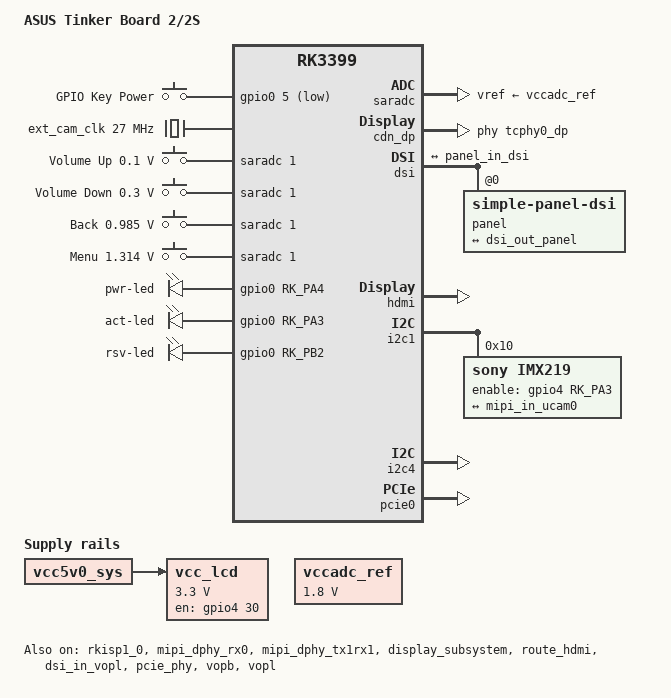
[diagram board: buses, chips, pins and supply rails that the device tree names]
/*
 * Copyright (c) 2016 Fuzhou Rockchip Electronics Co., Ltd
 *
 * This file is dual-licensed: you can use it either under the terms
 * of the GPL or the X11 license, at your option. Note that this dual
 * licensing only applies to this file, and not this project as a
 * whole.
 *
 *  a) This file is free software; you can redistribute it and/or
 *     modify it under the terms of the GNU General Public License as
 *     published by the Free Software Foundation; either version 2 of the
 *     License, or (at your option) any later version.
 *
 *     This file is distributed in the hope that it will be useful,
 *     but WITHOUT ANY WARRANTY; without even the implied warranty of
 *     MERCHANTABILITY or FITNESS FOR A PARTICULAR PURPOSE.  See the
 *     GNU General Public License for more details.
 *
 * Or, alternatively,
 *
 *  b) Permission is hereby granted, free of charge, to any person
 *     obtaining a copy of this software and associated documentation
 *     files (the "Software"), to deal in the Software without
 *     restriction, including without limitation the rights to use,
 *     copy, modify, merge, publish, distribute, sublicense, and/or
 *     sell copies of the Software, and to permit persons to whom the
 *     Software is furnished to do so, subject to the following
 *     conditions:
 *
 *     The above copyright notice and this permission notice shall be
 *     included in all copies or substantial portions of the Software.
 *
 *     THE SOFTWARE IS PROVIDED "AS IS", WITHOUT WARRANTY OF ANY KIND,
 *     EXPRESS OR IMPLIED, INCLUDING BUT NOT LIMITED TO THE WARRANTIES
 *     OF MERCHANTABILITY, FITNESS FOR A PARTICULAR PURPOSE AND
 *     NONINFRINGEMENT. IN NO EVENT SHALL THE AUTHORS OR COPYRIGHT
 *     HOLDERS BE LIABLE FOR ANY CLAIM, DAMAGES OR OTHER LIABILITY,
 *     WHETHER IN AN ACTION OF CONTRACT, TORT OR OTHERWISE, ARISING
 *     FROM, OUT OF OR IN CONNECTION WITH THE SOFTWARE OR THE USE OR
 *     OTHER DEALINGS IN THE SOFTWARE.
 */

/dts-v1/;

#include "rk3399-tinker_board_2.dtsi"
#include <dt-bindings/input/input.h>

/ {
	model = "ASUS Tinker Board 2/2S";
	compatible = "rockchip,rk3399-tinker_board_2", "rockchip,rk3399";

	vcc_lcd: vcc-lcd {
		compatible = "regulator-fixed";
		regulator-name = "vcc_lcd";
		gpio = <&gpio4 30 GPIO_ACTIVE_HIGH>;
		startup-delay-us = <20000>;
		enable-active-high;
		regulator-min-microvolt = <3300000>;
		regulator-max-microvolt = <3300000>;
		regulator-boot-on;
		vin-supply = <&vcc5v0_sys>;
	};

	panel: panel {
		compatible = "simple-panel";
		status = "disabled";
		backlight = <&backlight>;
		power-supply = <&vcc_lcd>;
		enable-gpios = <&gpio1 13 GPIO_ACTIVE_HIGH>;
		prepare-delay-ms = <20>;
		enable-delay-ms = <20>;

		display-timings {
			native-mode = <&timing0>;

			timing0: timing0 {
				clock-frequency = <200000000>;
				hactive = <1536>;
				vactive = <2048>;
				hfront-porch = <12>;
				hsync-len = <16>;
				hback-porch = <48>;
				vfront-porch = <8>;
				vsync-len = <4>;
				vback-porch = <8>;
				hsync-active = <0>;
				vsync-active = <0>;
				de-active = <0>;
				pixelclk-active = <0>;
			};
		};

		ports {
			panel_in: endpoint {
				remote-endpoint = <&edp_out>;
			};
		};
	};

	hdmi_sound: hdmi-sound {
		status = "okay";
	};

	gpio-keys {
		compatible = "gpio-keys";
		#address-cells = <1>;
		#size-cells = <0>;
		autorepeat;

		pinctrl-names = "default";
		pinctrl-0 = <&pwrbtn>;

		button@0 {
			gpios = <&gpio0 5 GPIO_ACTIVE_LOW>;
			linux,code = <KEY_POWER>;
			label = "GPIO Key Power";
			linux,input-type = <1>;
			gpio-key,wakeup = <1>;
			debounce-interval = <100>;
		};
	};

	vccadc_ref: vccadc-ref {
		compatible = "regulator-fixed";
		regulator-name = "vcc1v8_sys";
		regulator-always-on;
		regulator-boot-on;
		regulator-min-microvolt = <1800000>;
		regulator-max-microvolt = <1800000>;
	};

	ext_cam_clk: external-camera-clock {
		compatible = "fixed-clock";
		clock-frequency = <27000000>;
		clock-output-names = "CLK_CAMERA_27MHZ";
		#clock-cells = <0>;
	};

	adc-keys {
		compatible = "adc-keys";
		io-channels = <&saradc 1>;
		io-channel-names = "buttons";
		poll-interval = <100>;
		keyup-threshold-microvolt = <1800000>;

		button-up {
			label = "Volume Up";
			linux,code = <KEY_VOLUMEUP>;
			press-threshold-microvolt = <100000>;
		};

		button-down {
			label = "Volume Down";
			linux,code = <KEY_VOLUMEDOWN>;
			press-threshold-microvolt = <300000>;
		};

		back {
			label = "Back";
			linux,code = <KEY_BACK>;
			press-threshold-microvolt = <985000>;
		};

		menu {
			label = "Menu";
			linux,code = <KEY_MENU>;
			press-threshold-microvolt = <1314000>;
		};
	};

	gpio-leds {
		compatible = "gpio-leds";

		pwr-led {
			gpios = <&gpio0 RK_PA4 GPIO_ACTIVE_HIGH>;
			linux,default-trigger = "default-on";
			retain-state-suspended = <1>;
		};

		act-led {
			gpios = <&gpio0 RK_PA3 GPIO_ACTIVE_HIGH>;
			linux,default-trigger="mmc1";
		};

		rsv-led {
			gpios = <&gpio0 RK_PB2 GPIO_ACTIVE_HIGH>;
			linux,default-trigger="none";
		};
	};

	board_info: board-info {
		compatible = "board-info";

		hw-id0 = <&gpio4 RK_PA7 GPIO_ACTIVE_HIGH>;
		hw-id1 = <&gpio4 RK_PA6 GPIO_ACTIVE_HIGH>;
		hw-id2 = <&gpio4 RK_PA5 GPIO_ACTIVE_HIGH>;

		pid-id0 = <&gpio2 RK_PA5 GPIO_ACTIVE_HIGH>;
		pid-id1 = <&gpio2 RK_PA3 GPIO_ACTIVE_HIGH>;
		pid-id2 = <&gpio2 RK_PA2 GPIO_ACTIVE_HIGH>;

		ddr-id1 = <&gpio4 RK_PA4 GPIO_ACTIVE_HIGH>;
		ddr-id2 = <&gpio4 RK_PA0 GPIO_ACTIVE_HIGH>;

		pmic-reset = <&gpio1 RK_PA6 GPIO_ACTIVE_HIGH>;
	};
};

&rkisp1_0 {
	status = "okay";

	port {
		#address-cells = <1>;
		#size-cells = <0>;

		isp0_mipi_in: endpoint@0 {
			reg = <0>;
			remote-endpoint = <&dphy_rx0_out>;
		};
	};
};

&mipi_dphy_rx0 {
	status = "okay";

	ports {
		#address-cells = <1>;
		#size-cells = <0>;

		port@0 {
			reg = <0>;
			#address-cells = <1>;
			#size-cells = <0>;

			mipi_in_ucam0: endpoint@1 {
				reg = <1>;
				remote-endpoint = <&imx219_out>;
				data-lanes = <1 2>;
			};
		};

		port@1 {
			reg = <1>;
			#address-cells = <1>;
			#size-cells = <0>;

			dphy_rx0_out: endpoint@0 {
				reg = <0>;
				remote-endpoint = <&isp0_mipi_in>;
			};
		};
	};
};

&isp0_mmu {
	status = "okay";
};

&rkisp1_1 {
	status = "disabled";

	port {
		#address-cells = <1>;
		#size-cells = <0>;

		isp1_mipi_in: endpoint@0 {
			reg = <0>;
			remote-endpoint = <&dphy_tx1rx1_out>;
		};
	};
};

&mipi_dphy_tx1rx1 {
	status = "okay";

	ports {
		#address-cells = <1>;
		#size-cells = <0>;

		port@0 {
			reg = <0>;
			#address-cells = <1>;
			#size-cells = <0>;

			mipi_in_ucam1: endpoint@1 {
				reg = <1>;
				/* Unlinked camera */
				//remote-endpoint = <&ucam_out1>;
				data-lanes = <1 2>;
			};
		};

		port@1 {
			reg = <1>;
			#address-cells = <1>;
			#size-cells = <0>;

			dphy_tx1rx1_out: endpoint@0 {
				reg = <0>;
				remote-endpoint = <&isp1_mipi_in>;
			};
		};
	};
};

&isp1_mmu {
	status = "disabled";
};

&saradc {
	vref-supply = <&vccadc_ref>;
};

&backlight {
	status = "disabled";
	enable-gpios = <&gpio4 29 GPIO_ACTIVE_HIGH>;
};

&cdn_dp {
	status = "okay";
	extcon = <&fusb0>;
	phys = <&tcphy0_dp>;
};

&display_subsystem {
	status = "okay";
};

&route_edp {
	status = "disabled";
};

&route_hdmi {
	status = "okay";
	connect = <&vopb_out_hdmi>;
};

&dsi {
	status = "okay";
	panel@0 {
		compatible ="simple-panel-dsi";
		reg = <0>;

		rpi-init-sequence = [
				29 00 06 10 02 03 00 00 00
				29 00 06 64 01 0C 00 00 00
				29 00 06 68 01 0C 00 00 00
				29 00 06 44 01 00 00 00 00
				29 00 06 48 01 00 00 00 00
				29 00 06 14 01 15 00 00 00
				29 00 06 50 04 60 00 00 00
				29 00 06 20 04 52 01 10 00
				29 00 06 24 04 14 00 1A 00
				29 00 06 28 04 20 03 69 00
				29 00 06 2C 04 02 00 15 00
				29 00 06 30 04 E0 01 07 00
				29 00 06 34 04 01 00 00 00
				29 00 06 64 04 0F 04 00 00
				29 00 06 04 01 01 00 00 00
				29 00 06 04 02 01 00 00 00
		];
		powertip-exit-sequence = [
			05 14 01 28
			05 78 01 10
		];
		powertip-rev-a-init-sequence = [
			39 00 04 ff 98 81 03
			15 00 02 03 55
			15 00 02 04 13
			15 00 02 06 06
			15 00 02 07 01
			15 00 02 09 01
			15 00 02 0a 01
			15 00 02 0f 18
			15 00 02 10 18
			15 00 02 1e 44
			15 00 02 1f 80
			15 00 02 20 02
			15 00 02 21 03
			15 00 02 28 33
			15 00 02 29 03
			15 00 02 34 04
			15 00 02 38 01
			15 00 02 50 01
			15 00 02 51 23
			15 00 02 52 45
			15 00 02 53 67
			15 00 02 54 89
			15 00 02 55 ab
			15 00 02 56 01
			15 00 02 57 23
			15 00 02 58 45
			15 00 02 59 67
			15 00 02 5a 89
			15 00 02 5b ab
			15 00 02 5c cd
			15 00 02 5d ef
			15 00 02 5e 11
			15 00 02 5f 14
			15 00 02 60 15
			15 00 02 61 0f
			15 00 02 62 0d
			15 00 02 63 0e
			15 00 02 64 0c
			15 00 02 65 06
			15 00 02 66 02
			15 00 02 67 02
			15 00 02 68 02
			15 00 02 69 02
			15 00 02 6a 02
			15 00 02 6b 02
			15 00 02 6c 02
			15 00 02 6d 02
			15 00 02 6e 02
			15 00 02 6f 02
			15 00 02 70 02
			15 00 02 72 01
			15 00 02 73 08
			15 00 02 74 02
			15 00 02 75 14
			15 00 02 76 15
			15 00 02 77 0f
			15 00 02 78 0d
			15 00 02 79 0e
			15 00 02 7a 0c
			15 00 02 7b 08
			15 00 02 7c 02
			15 00 02 7d 02
			15 00 02 7e 02
			15 00 02 7f 02
			15 00 02 80 02
			15 00 02 81 02
			15 00 02 82 02
			15 00 02 83 02
			15 00 02 84 02
			15 00 02 85 02
			15 00 02 86 02
			15 00 02 88 01
			15 00 02 89 06
			15 00 02 8a 02
			39 00 04 ff 98 81 04
			15 00 02 6c 15
			15 00 02 6e 2a
			15 00 02 6f 33
			15 00 02 3a 24
			15 00 02 8d 14
			15 00 02 87 ba
			15 00 02 26 76
			15 00 02 b2 d1
			15 00 02 b5 d7
			15 00 02 35 1f
			39 00 04 ff 98 81 01
			15 00 02 22 0a
			15 00 02 53 72
			15 00 02 55 77
			15 00 02 50 a6
			15 00 02 51 a6
			15 00 02 60 30
			15 00 02 a0 08
			15 00 02 a1 1a
			15 00 02 a2 2a
			15 00 02 a3 14
			15 00 02 a4 17
			15 00 02 a5 2b
			15 00 02 a6 1d
			15 00 02 a7 20
			15 00 02 a8 9d
			15 00 02 a9 1c
			15 00 02 aa 29
			15 00 02 ab 8f
			15 00 02 ac 20
			15 00 02 ad 1f
			15 00 02 ae 4f
			15 00 02 af 23
			15 00 02 b0 29
			15 00 02 b1 56
			15 00 02 b2 66
			15 00 02 b3 39
			15 00 02 c0 08
			15 00 02 c1 1a
			15 00 02 c2 2a
			15 00 02 c3 15
			15 00 02 c4 17
			15 00 02 c5 2b
			15 00 02 c6 1d
			15 00 02 c7 20
			15 00 02 c8 9d
			15 00 02 c9 1d
			15 00 02 ca 29
			15 00 02 cb 8f
			15 00 02 cc 20
			15 00 02 cd 1f
			15 00 02 ce 4f
			15 00 02 cf 24
			15 00 02 d0 29
			15 00 02 d1 56
			15 00 02 d2 66
			15 00 02 d3 39
			39 00 04 ff 98 81 00
			15 00 02 35 00
			05 78 01 11
			05 78 01 29
		];
		powertip-rev-b-init-sequence = [
			39 00 04 FF 98 81 03
			15 00 02 01 00
			15 00 02 02 00
			15 00 02 03 73
			15 00 02 04 00
			15 00 02 05 00
			15 00 02 06 0A
			15 00 02 07 00
			15 00 02 08 00
			15 00 02 09 61
			15 00 02 0A 00
			15 00 02 0B 00
			15 00 02 0C 01
			15 00 02 0D 00
			15 00 02 0E 00
			15 00 02 0F 61
			15 00 02 10 61
			15 00 02 11 00
			15 00 02 12 00
			15 00 02 13 00
			15 00 02 14 00
			15 00 02 15 00
			15 00 02 16 00
			15 00 02 17 00
			15 00 02 18 00
			15 00 02 19 00
			15 00 02 1A 00
			15 00 02 1B 00
			15 00 02 1C 00
			15 00 02 1D 00
			15 00 02 1E 40
			15 00 02 1F 80
			15 00 02 20 06
			15 00 02 21 01
			15 00 02 22 00
			15 00 02 23 00
			15 00 02 24 00
			15 00 02 25 00
			15 00 02 26 00
			15 00 02 27 00
			15 00 02 28 33
			15 00 02 29 03
			15 00 02 2A 00
			15 00 02 2B 00
			15 00 02 2C 00
			15 00 02 2D 00
			15 00 02 2E 00
			15 00 02 2F 00
			15 00 02 30 00
			15 00 02 31 00
			15 00 02 32 00
			15 00 02 33 00
			15 00 02 34 04
			15 00 02 35 00
			15 00 02 36 00
			15 00 02 37 00
			15 00 02 38 3C
			15 00 02 39 00
			15 00 02 3A 00
			15 00 02 3B 00
			15 00 02 3C 00
			15 00 02 3D 00
			15 00 02 3E 00
			15 00 02 3F 00
			15 00 02 40 00
			15 00 02 41 00
			15 00 02 42 00
			15 00 02 43 00
			15 00 02 44 00
			15 00 02 50 10
			15 00 02 51 32
			15 00 02 52 54
			15 00 02 53 76
			15 00 02 54 98
			15 00 02 55 BA
			15 00 02 56 10
			15 00 02 57 32
			15 00 02 58 54
			15 00 02 59 76
			15 00 02 5A 98
			15 00 02 5B BA
			15 00 02 5C DC
			15 00 02 5D FE
			15 00 02 5E 00
			15 00 02 5F 0E
			15 00 02 60 0F
			15 00 02 61 0C
			15 00 02 62 0D
			15 00 02 63 06
			15 00 02 64 07
			15 00 02 65 02
			15 00 02 66 02
			15 00 02 67 02
			15 00 02 68 02
			15 00 02 69 01
			15 00 02 6A 00
			15 00 02 6B 02
			15 00 02 6C 15
			15 00 02 6D 14
			15 00 02 6E 02
			15 00 02 6F 02
			15 00 02 70 02
			15 00 02 71 02
			15 00 02 72 02
			15 00 02 73 02
			15 00 02 74 02
			15 00 02 75 0E
			15 00 02 76 0F
			15 00 02 77 0C
			15 00 02 78 0D
			15 00 02 79 06
			15 00 02 7A 07
			15 00 02 7B 02
			15 00 02 7C 02
			15 00 02 7D 02
			15 00 02 7E 02
			15 00 02 7F 01
			15 00 02 80 00
			15 00 02 81 02
			15 00 02 82 14
			15 00 02 83 15
			15 00 02 84 02
			15 00 02 85 02
			15 00 02 86 02
			15 00 02 87 02
			15 00 02 88 02
			15 00 02 89 02
			15 00 02 8A 02
			39 00 04 FF 98 81 04
			15 00 02 6C 15
			15 00 02 6E 2A
			15 00 02 6F 33
			15 00 02 3B 98
			15 00 02 3A 94
			15 00 02 8D 14
			15 00 02 87 BA
			15 00 02 26 76
			15 00 02 B2 D1
			15 00 02 B5 06
			15 00 02 38 01
			15 00 02 39 00
			39 00 04 FF 98 81 01
			15 00 02 22 0A
			15 00 02 31 00
			15 00 02 53 7D
			15 00 02 55 8F
			15 00 02 40 33
			15 00 02 50 96
			15 00 02 51 96
			15 00 02 60 23
			15 00 02 A0 08
			15 00 02 A1 1D
			15 00 02 A2 2A
			15 00 02 A3 10
			15 00 02 A4 15
			15 00 02 A5 28
			15 00 02 A6 1C
			15 00 02 A7 1D
			15 00 02 A8 7E
			15 00 02 A9 1D
			15 00 02 AA 29
			15 00 02 AB 6B
			15 00 02 AC 1A
			15 00 02 AD 18
			15 00 02 AE 4B
			15 00 02 AF 20
			15 00 02 B0 27
			15 00 02 B1 50
			15 00 02 B2 64
			15 00 02 B3 39
			15 00 02 C0 08
			15 00 02 C1 1D
			15 00 02 C2 2A
			15 00 02 C3 10
			15 00 02 C4 15
			15 00 02 C5 28
			15 00 02 C6 1C
			15 00 02 C7 1D
			15 00 02 C8 7E
			15 00 02 C9 1D
			15 00 02 CA 29
			15 00 02 CB 6B
			15 00 02 CC 1A
			15 00 02 CD 18
			15 00 02 CE 4B
			15 00 02 CF 20
			15 00 02 D0 27
			15 00 02 D1 50
			15 00 02 D2 64
			15 00 02 D3 39
			39 00 04 ff 98 81 00
			15 00 02 35 00
			05 78 01 11
			05 78 01 29
		];

		rpi-display-timings {
			native-mode = <&timing2>;

			timing2: timing2 {
				clock-frequency = <26101800>;
				hactive = <800>;
				vactive = <480>;
				hfront-porch = <2>;
				hsync-len = <2>;
				hback-porch = <52>;
				vfront-porch = <7>;
				vsync-len = <2>;
				vback-porch = <21>;
				hsync-active = <0>;
				vsync-active = <0>;
				de-active = <0>;
				pixelclk-active = <0>;
			};
		};

		powertip-display-timings {
			native-mode = <&timing1>;

			timing1: timing1 {
				clock-frequency = <66800000>;
				hactive = <720>;
				vactive = <1280>;
				hfront-porch = <8>;
				hsync-len = <55>;
				hback-porch = <55>;
				vfront-porch = <8>;
				vsync-len = <20>;
				vback-porch = <20>;
				hsync-active = <0>;
				vsync-active = <0>;
				de-active = <0>;
				pixelclk-active = <0>;
			};
		};

		ports {
			#address-cells = <1>;
			#size-cells = <0>;

			port@0 {
				reg = <0>;

				panel_in_dsi: endpoint {
					remote-endpoint = <&dsi_out_panel>;
				};
			};
		};
	};

	ports {
		#address-cells = <1>;
		#size-cells = <0>;

		port@1 {
			reg = <1>;

			dsi_out_panel: endpoint {
				remote-endpoint = <&panel_in_dsi>;
			};
		};
	};
};

&edp {
	status = "disabled";
	force-hpd;

	ports {
		port@1 {
			reg = <1>;

			edp_out: endpoint {
				remote-endpoint = <&panel_in>;
			};
		};
	};
};

&dsi_in_vopl {
	status = "okay";
};

&dsi_in_vopb {
	status = "disabled";
};

&dsi1 {
	status = "disabled";
};

&dsi1_in_vopl {
	status = "disabled";
};

&dsi1_in_vopb {
	status = "disabled";
};

&edp {
	status = "disabled";
};

&edp_in_vopb {
	status = "disabled";
};

&edp_in_vopl {
	status = "disabled";
};

&dp_in_vopb {
	status = "disabled";
};

&hdmi {
	pinctrl-0 = <&hdmi_i2c_xfer>, <&hdmi_cec>;
	#sound-dai-cells = <0>;
	rockchip,phy-table =
		<74250000  0x8009 0x0004 0x0272>,
		<165000000 0x802b 0x0004 0x0209>,
		<297000000 0x8039 0x0005 0x028d>,
		<594000000 0x8039 0x0000 0x00f6>,
		<000000000 0x0000 0x0000 0x0000>;
	status = "okay";
};

&hdmi_in_vopl {
	status = "disabled";
};

&i2c1 {
	status = "okay";

	imx219: imx219@10 {
		compatible = "sony,imx219";
		status = "okay";
		reg = <0x10>;
		clocks = <&cru SCLK_CIF_OUT>;
		clock-names = "xvclk";
		pinctrl-names = "rockchip,camera_default";
		pinctrl-0 = <&cif_clkout>;

		enable-gpios = <&gpio4 RK_PA3 GPIO_ACTIVE_HIGH>;
		rockchip,camera-module-index = <0>;
		rockchip,camera-module-facing = "back";
		rockchip,camera-module-name = "RPi_v21";
		rockchip,camera-module-lens-name = "default";

		port {
			imx219_out: endpoint {
				remote-endpoint = <&mipi_in_ucam0>;
				data-lanes = <1 2>;
			};
		};
	};

	ov5647: ov5647@36 {
		compatible = "ovti,ov5647";
		status = "disabled";
		reg = <0x36>;
		clocks = <&cru SCLK_CIF_OUT>;
		clock-names = "xvclk";

		pinctrl-names = "rockchip,camera_default";
		pinctrl-0 = <&cif_clkout>;

		enable-gpios = <&gpio4 RK_PA3 GPIO_ACTIVE_HIGH>;

		rockchip,camera-module-index = <0>;
		rockchip,camera-module-facing = "back";
		rockchip,camera-module-name = "RPi_v13";
		rockchip,camera-module-lens-name = "default";

		port {
			ov5647_out: endpoint {
			};
		};
	};
};

&i2c4 {
	status = "okay";
};

&i2c6 {
	status = "disabled";
};

&i2c7 {
	status = "disabled";
};

&pcie_phy {
	status = "okay";
};

&pcie0 {
	status = "okay";
};

&vopb {
	status = "okay";
	assigned-clocks = <&cru DCLK_VOP0_DIV>;
	assigned-clock-parents = <&cru PLL_VPLL>;
};

&vopb_mmu {
	status = "okay";
};

&vopl {
	status = "okay";
	assigned-clocks = <&cru DCLK_VOP1_DIV>;
	assigned-clock-parents = <&cru PLL_CPLL>;
};

&vopl_mmu {
	status = "okay";
};

&pinctrl {
	pinctrl-names = "default";
	pinctrl-0 = <&gpio_init &test_clkout2>;

	gpio_init_config {
		gpio_init: gpio_init {
			rockchip,pins =
				<1 7 0 &pcfg_pull_none>,
				<1 8 0 &pcfg_pull_none>,
				<1 9 0 &pcfg_pull_none>,
				<1 10 0 &pcfg_pull_none>,
				<2 19 0 &pcfg_pull_none>;
		};
	};

	buttons {
		pwrbtn: pwrbtn {
			rockchip,pins = <0 RK_PA5 RK_FUNC_GPIO &pcfg_pull_up>;
		};
	};

	lcd-panel {
		lcd_panel_reset: lcd-panel-reset {
			rockchip,pins = <4 RK_PD6 RK_FUNC_GPIO &pcfg_pull_up>;
		};
	};
};

&sdmmc {
	sd-uhs-sdr12;
	sd-uhs-sdr25;
	sd-uhs-sdr50;
	sd-uhs-sdr104;
	supports-emmc;
};

&spi1 {
	status = "disable";
	max-freq = <48000000>; /* spi internal clk, don't modify */
	spi_dev@0 {
		compatible = "rockchip,spidev";
		reg = <0>;
		spi-max-frequency = <48000000>;
		spi-lsb-first;
	};
};

&spi5 {
	status = "disable";
	max-freq = <48000000>;   //spi internal clk, don't modify
	spi_dev@0 {
		compatible = "rockchip,spidev";
		reg = <0>;   //chip select  0:cs0  1:cs1
		id = <0>;
		spi-max-frequency = <48000000>;   //spi output clock
	};
};
